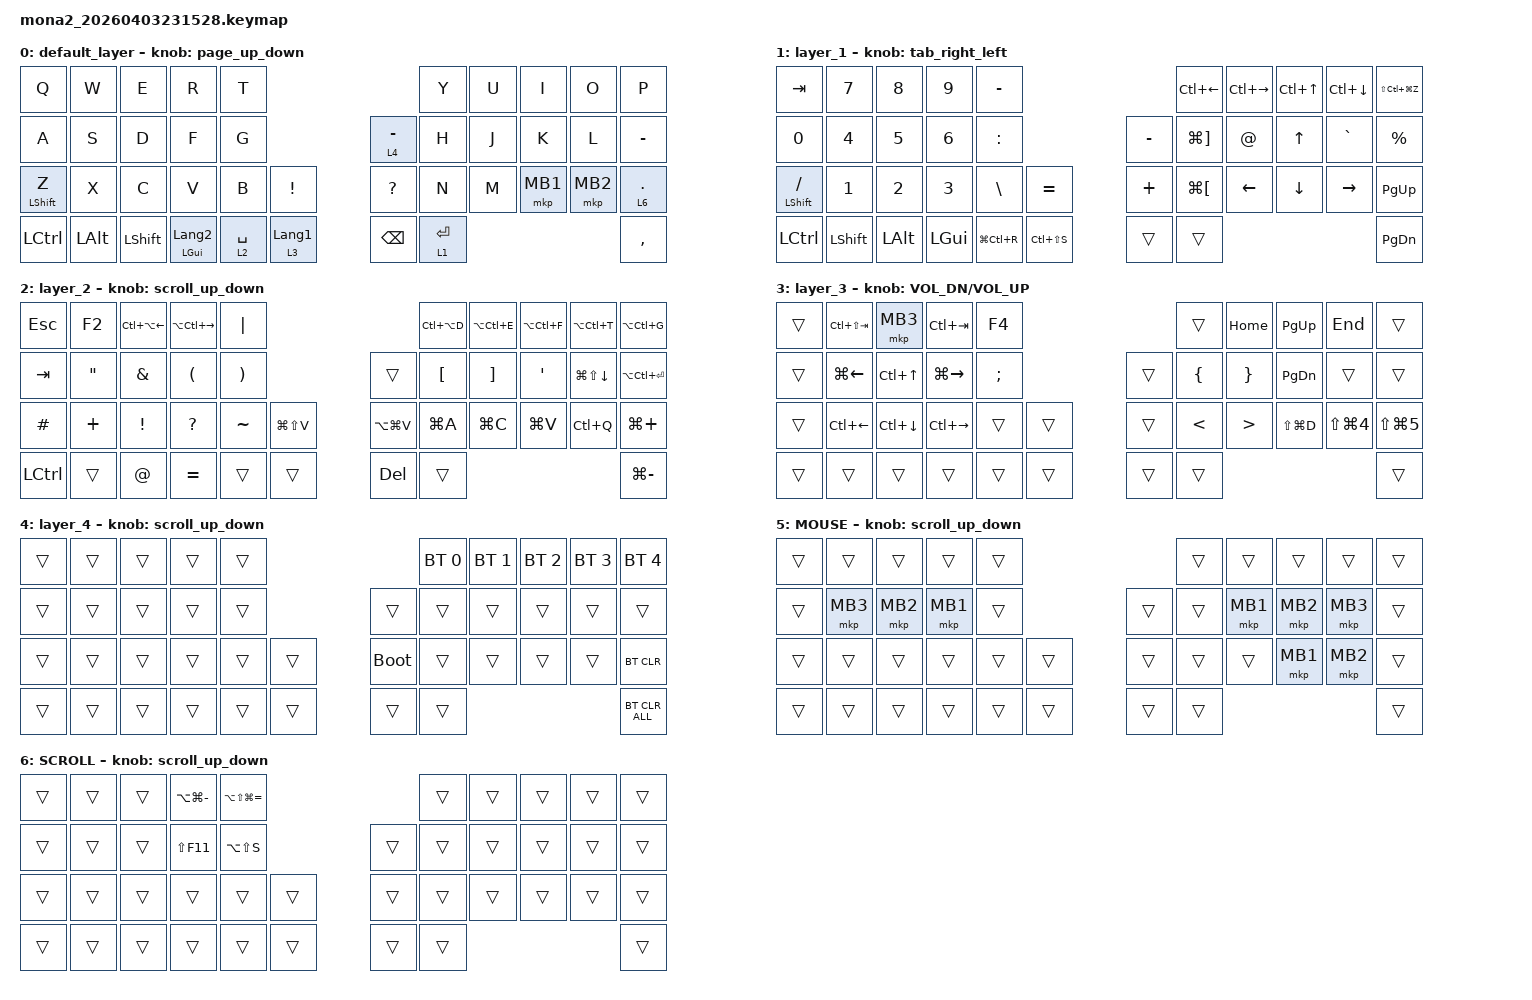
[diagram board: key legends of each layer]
#include <input/processors.dtsi>
#include <dt-bindings/zmk/input_transform.h>
#include <zephyr/dt-bindings/input/input-event-codes.h>
#include <behaviors.dtsi>
#include <dt-bindings/zmk/bt.h>
#include <dt-bindings/zmk/keys.h>
#include <dt-bindings/zmk/pointing.h>
#include <behaviors/unicode.dtsi>

#define ZMK_POINTING_DEFAULT_SCRL_VAL 100
#define MOUSE 5
#define SCROLL 6

&uc {
    default-mode = <UC_MODE_MACOS>;
};

&mt {
    flavor = "balanced";
    quick-tap-ms = <0>;

    // flavor = "tap-preferred";
    // tapping-term-ms = <250>;
    // tapping-term-ms = <250>;
    // quick-tap-ms = <175>;
    // require-prior-idle-ms = <150>;
};

&lt {
    quick-tap-ms = <300>;
    flavor = "balanced";
};

/ {
    combos {
        compatible = "zmk,combos";

        layer4_ESC {
            bindings = <&lt 4 ESC>;
            key-positions = <39 38>;
        };

        source {
            bindings = <&kp LA(LG(U))>;
            key-positions = <5 6>;
        };

        close_window {
            bindings = <&kp LG(W)>;
            key-positions = <0 1>;
        };

        search {
            bindings = <&kp LG(F)>;
            key-positions = <14 13>;
        };

        new_tab {
            bindings = <&kp LG(T)>;
            key-positions = <4 3>;
        };
    };

    macros {
        to_layer_0: to_layer_0 {
            compatible = "zmk,behavior-macro-one-param";
            #binding-cells = <1>;
            bindings = <&to 0 &macro_param_1to1 &kp MACRO_PLACEHOLDER>;
            label = "TO_LAYER_0";
        };
    };

    behaviors {
        lt_to_layer_0: lt_to_layer_0 {
            compatible = "zmk,behavior-hold-tap";
            label = "LAYER_TAP_TO_0";
            bindings = <&mo>, <&to_layer_0>;

            #binding-cells = <2>;
            tapping-term-ms = <200>;
        };

        scroll_up_down: mouse_wheel_up_down {
            compatible = "zmk,behavior-sensor-rotate";
            #sensor-binding-cells = <0>;
            bindings = <&msc SCRL_DOWN>, <&msc SCRL_UP>;

            tap-ms = <20>;
            label = "scroll_up_down";
        };

        scroll_right_left: mouse_wheel_right_left {
            compatible = "zmk,behavior-sensor-rotate";
            #sensor-binding-cells = <0>;
            bindings = <&msc SCRL_LEFT>, <&msc SCRL_RIGHT>;

            tap-ms = <20>;
        };

        tab_right_left: tab_right_left {
            compatible = "zmk,behavior-sensor-rotate";
            #sensor-binding-cells = <0>;
            bindings = <&kp LC(LS(TAB))>, <&kp LC(TAB)>;

            tap-ms = <20>;
            label = "TAB_RIGHT_LEFT";
        };

        z_shft: zmk,behavior-hold-tap {
            compatible = "zmk,behavior-hold-tap";
            #binding-cells = <2>;
            flavor = "tap-preferred";
            tapping-term-ms = <250>;
            bindings = <&kp>, <&kp>;
        };

        page_up_down: page_up_down {
            compatible = "zmk,behavior-sensor-rotate";
            #sensor-binding-cells = <0>;
            bindings = <&kp PAGE_DOWN>, <&kp PAGE_UP>;

            tap-ms = <20>;
            label = "PAGE_UP_DOWN";
        };
    };

    keymap {
        compatible = "zmk,keymap";

        default_layer {
            bindings = <
&kp Q             &kp W         &kp E           &kp R                    &kp T                                                      &kp Y        &kp U  &kp I     &kp O     &kp P
&kp A             &kp S         &kp D           &kp F                    &kp G                                       &lt 4 MINUS    &kp H        &kp J  &kp K     &kp L     &kp MINUS
&z_shft LSHIFT Z  &kp X         &kp C           &kp V                    &kp B        &kp EXCLAMATION                &kp QUESTION   &kp N        &kp M  &mkp MB1  &mkp MB2  &lt 6 PERIOD
&kp LCTRL         &kp LEFT_ALT  &kp LEFT_SHIFT  &mt LEFT_GUI LANGUAGE_2  &lt 2 SPACE  &lt_to_layer_0 3 LANGUAGE_1    &kp BACKSPACE  &lt 1 ENTER                             &kp COMMA
            >;

            sensor-bindings = <&page_up_down>;
        };

        layer_1 {
            bindings = <
&kp TAB               &kp N7     &kp N8    &kp N9    &kp MINUS                                  &kp LC(LEFT)  &kp LC(RIGHT)  &kp LC(UP_ARROW)  &kp LC(DOWN)  &kp LS(LC(LG(Z)))
&kp N0                &kp N4     &kp N5    &kp N6    &kp COLON                       &kp MINUS  &kp LG(RBKT)  &kp AT_SIGN    &kp UP_ARROW      &kp GRAVE     &kp PERCENT
&mt LEFT_SHIFT SLASH  &kp N1     &kp N2    &kp N3    &kp BSLH       &kp EQUAL        &kp PLUS   &kp LG(LBKT)  &kp LEFT       &kp DOWN          &kp RIGHT     &kp PAGE_UP
&kp LCTRL             &kp LSHFT  &kp LALT  &kp LGUI  &kp LG(LC(R))  &kp LC(LS(S))    &trans     &trans                                                       &kp PAGE_DOWN
            >;

            sensor-bindings = <&tab_right_left>;
        };

        layer_2 {
            bindings = <
&kp ESCAPE  &kp F2             &kp LC(LA(LEFT))  &kp LA(LC(RIGHT))     &kp PIPE                                               &kp LC(LA(D))  &kp LA(LC(E))  &kp LA(LC(F))  &kp LA(LC(T))     &kp LA(LC(G))
&kp TAB     &kp DOUBLE_QUOTES  &kp AMPERSAND     &kp LEFT_PARENTHESIS  &kp RIGHT_PARENTHESIS                   &trans         &kp LBKT       &kp RBKT       &kp APOS       &kp LG(LS(DOWN))  &kp LA(LC(ENTER))
&kp HASH    &kp PLUS           &kp EXCLAMATION   &kp QUESTION          &kp TILDE              &kp LG(LS(V))    &kp LA(LG(V))  &kp LG(A)      &kp LG(C)      &kp LG(V)      &kp LC(Q)         &kp LG(PLUS)
&kp LCTRL   &trans             &kp AT_SIGN       &kp EQUAL             &trans                 &trans           &kp DELETE     &trans                                                         &kp LG(MINUS)
            >;

            sensor-bindings = <&scroll_up_down>;
        };

        layer_3 {
            bindings = <
&trans  &kp LC(LS(TAB))     &mkp MB3          &kp LC(TAB)          &kp F4                           &trans          &kp HOME          &kp PAGE_UP    &kp END               &trans
&trans  &kp LG(LEFT_ARROW)  &kp LC(UP_ARROW)  &kp LG(RIGHT)        &kp SEMICOLON            &trans  &kp LEFT_BRACE  &kp RIGHT_BRACE   &kp PAGE_DOWN  &trans                &trans
&trans  &kp LC(LEFT)        &kp LC(DOWN)      &kp LC(RIGHT_ARROW)  &trans         &trans    &trans  &kp LESS_THAN   &kp GREATER_THAN  &kp LS(LG(D))  &kp LS(LG(NUMBER_4))  &kp LS(LG(N5))
&trans  &trans              &trans            &trans               &trans         &trans    &trans  &trans                                                                 &trans
            >;

            sensor-bindings = <&inc_dec_kp C_VOL_DN C_VOL_UP>;
        };

        layer_4 {
            bindings = <
&trans  &trans  &trans  &trans  &trans                         &bt BT_SEL 0  &bt BT_SEL 1  &bt BT_SEL 2  &bt BT_SEL 3  &bt BT_SEL 4
&trans  &trans  &trans  &trans  &trans            &trans       &trans        &trans        &trans        &trans        &trans
&trans  &trans  &trans  &trans  &trans  &trans    &bootloader  &trans        &trans        &trans        &trans        &bt BT_CLR
&trans  &trans  &trans  &trans  &trans  &trans    &trans       &trans                                                  &bt BT_CLR_ALL
            >;

            sensor-bindings = <&scroll_up_down>;
        };

        MOUSE {
            bindings = <
&trans  &trans    &trans    &trans    &trans                    &trans  &trans    &trans    &trans    &trans
&trans  &mkp MB3  &mkp MB2  &mkp MB1  &trans            &trans  &trans  &mkp MB1  &mkp MB2  &mkp MB3  &trans
&trans  &trans    &trans    &trans    &trans  &trans    &trans  &trans  &trans    &mkp MB1  &mkp MB2  &trans
&trans  &trans    &trans    &trans    &trans  &trans    &trans  &trans                                &trans
            >;

            sensor-bindings = <&scroll_up_down>;
        };

        SCROLL {
            bindings = <
&trans  &trans  &trans  &kp LA(LG(MINUS))  &kp LA(LS(LG(EQUAL)))                    &trans  &trans  &trans  &trans  &trans
&trans  &trans  &trans  &kp LS(F11)        &kp LA(LS(S))                    &trans  &trans  &trans  &trans  &trans  &trans
&trans  &trans  &trans  &trans             &trans                 &trans    &trans  &trans  &trans  &trans  &trans  &trans
&trans  &trans  &trans  &trans             &trans                 &trans    &trans  &trans                          &trans
            >;

            sensor-bindings = <&scroll_up_down>;
        };
    };
};
